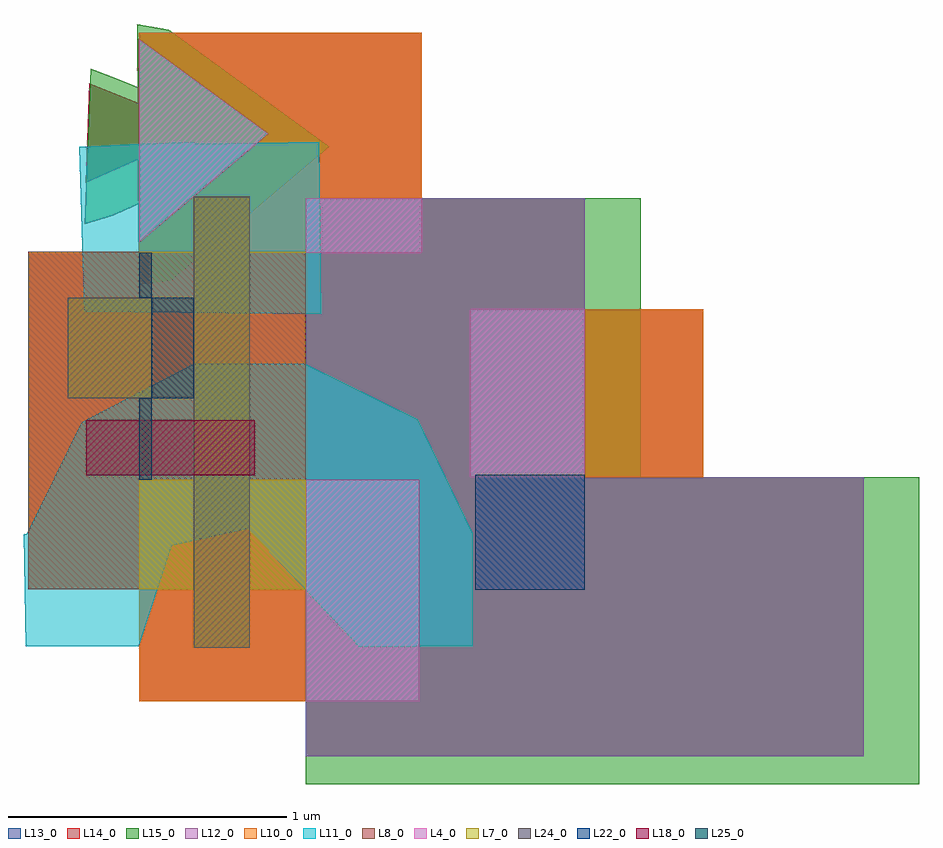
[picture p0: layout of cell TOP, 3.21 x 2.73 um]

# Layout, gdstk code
import gdstk
lib = gdstk.Library(unit=1e-6, precision=1e-09)
def R(c, l, rs):  # rectangles x0, y0, x1, y1
    for r in rs: c.add(gdstk.rectangle(r[:2], r[2:], *l))
def P(c, l, *ps):  # polygons
    for p in ps: c.add(gdstk.Polygon(p, *l))
L4_0 = (4, 0)
L5_0 = (5, 0)
L6_0 = (6, 0)
L7_0 = (7, 0)
L8_0 = (8, 0)
L10_0 = (10, 0)
L11_0 = (11, 0)
L12_0 = (12, 0)
L13_0 = (13, 0)
L14_0 = (14, 0)
L15_0 = (15, 0)
L18_0 = (18, 0)
L19_0 = (19, 0)
L20_0 = (20, 0)
L22_0 = (22, 0)
L24_0 = (24, 0)
L25_0 = (25, 0)
L26_0 = (26, 0)

top = lib.new_cell('TOP')
R(top, L4_0, [(0,0.196,0.407,0.991), (0.589,1,1,1.603), (0,1.804,0.416,2)])
P(top, L4_0, [(-0.598,1.842),(-0.598,2.571),(-0.135,2.232)])
R(top, L7_0, [(-0.854,1.283,-0.553,1.644)])
P(top, L7_0, [(-0.402,0.388),(-0.402,0.598),(-0.598,0.598),(-0.598,0.991),(-0.402,0.991),(-0.402,1.804),(-0.598,1.804),(-0.598,1.809),(-0.402,1.809),(-0.402,2.005),(-0.201,2.005),(-0.201,1.809),(0,1.809),(0,1.804),(-0.201,1.804),(-0.201,0.991),(0,0.991),(0,0.598),(-0.201,0.598),(-0.201,0.388)])
R(top, L8_0, [(-0.402,0.388,-0.201,2.005), (-0.996,0.598,0,1.809)])
R(top, L10_0, [(1,1,1.425,1.603)])
P(top, L10_0, [(-0.598,0.196),(-0.598,0.598),(-0.996,0.598),(-0.996,1.809),(-0.598,1.809),(-0.598,1.842),(-0.135,2.232),(-0.598,2.571),(-0.598,2.594),(0.416,2.594),(0.416,2),(0,2),(0,0.196)])
P(top, L11_0, [(0.193,0.391),(-0.209,0.816),(-0.481,0.755),(-0.599,0.394),(-1.005,0.394),(-1.012,0.796),(-1.001,0.796),(-0.804,1.197),(-0.401,1.407),(-0.002,1.407),(0.401,1.207),(0.599,0.799),(0.599,0.394)],
  [(0.056,1.585),(-0.795,1.594),(-0.812,2.185),(-0.804,2.185),(-0.632,2.193),(-0.63,2.193),(-0.397,2.203),(-0.397,2.202),(-0.391,2.196),(0.048,2.203)])
P(top, L12_0, [(0,0),(0,2),(1,2),(1,1),(2,1),(2,0)])
P(top, L13_0, [(0,0),(0,0.196),(-0.598,0.196),(-0.598,0.598),(-0.996,0.598),(-0.996,1.809),(-0.598,1.809),(-0.598,1.842),(-0.6,1.84),(-0.602,2.139),(-0.789,2.056),(-0.776,2.413),(-0.603,2.343),(-0.604,2.575),(-0.598,2.571),(-0.598,2.594),(0.416,2.594),(0.416,2),(1,2),(1,1.603),(1.425,1.603),(1.425,1),(2,1),(2,0)])
P(top, L14_0, [(0,0),(0,0.196),(-0.598,0.196),(-0.598,0.598),(-0.996,0.598),(-0.996,0.991),(0,0.991),(0,0.196),(0.407,0.196),(0.407,0.991),(-0.996,0.991),(-0.996,1.603),(0.589,1.603),(0.589,1),(1,1),(1,1.603),(-0.996,1.603),(-0.996,1.809),(-0.598,1.809),(-0.598,1.842),(-0.6,1.84),(-0.602,2.139),(-0.789,2.056),(-0.776,2.413),(-0.603,2.343),(-0.604,2.571),(-0.598,2.571),(-0.598,1.842),(-0.41,2),(0,2),(0,1.804),(0.416,1.804),(0.416,2),(-0.41,2),(-0.135,2.232),(-0.598,2.571),(-0.604,2.571),(-0.604,2.575),(-0.598,2.571),(-0.598,2.594),(0.416,2.594),(0.416,2),(1,2),(1,1.603),(1.425,1.603),(1.425,1),(2,1),(2,0)])
P(top, L15_0, [(-0.793,1.907),(-0.772,2.464),(-0.682,2.43),(-0.13,2.207),(-0.125,2.19),(-0.692,1.938)],
  [(-0.599,1.69),(-0.605,2.625),(-0.492,2.605),(0.084,2.184),(-0.483,1.707)],
  [(0,-0.1),(0,2),(1.2,2),(1.2,1),(2.2,1),(2.2,-0.1)])
R(top, L18_0, [(-0.788,1.007,-0.184,1.205)])
R(top, L22_0, [(0.607,0.597,1,1.008)])
R(top, L24_0, [(-0.402,0.388,-0.201,2.005), (-0.854,1.283,-0.553,1.644), (-0.854,1.283,-0.553,1.644)])
R(top, L25_0, [(-0.598,0.991,-0.553,1.283), (-0.553,1.283,-0.402,1.644), (-0.598,1.644,-0.553,1.804)])
top.add(gdstk.FlexPath([(-0.402,0.997),(-0.599,0.394)], 0, ends="flush", simple_path=True, layer=5, datatype=0))  # L5_0
top.add(gdstk.FlexPath([(-1.001,0.796),(-0.804,1.198)], 0, ends="flush", simple_path=True, layer=5, datatype=0))  # L5_0
top.add(gdstk.FlexPath([(-0.598,0.196),(-0.598,0.598)], 0, ends="flush", simple_path=True, layer=6, datatype=0))  # L6_0
top.add(gdstk.FlexPath([(-0.598,0.598),(-0.996,0.598)], 0, ends="flush", simple_path=True, layer=6, datatype=0))  # L6_0
top.add(gdstk.FlexPath([(-0.996,1.809),(-0.598,1.809)], 0, ends="flush", simple_path=True, layer=6, datatype=0))  # L6_0
top.add(gdstk.FlexPath([(0,0.991),(0.407,0.991)], 0, ends="flush", simple_path=True, layer=6, datatype=0))  # L6_0
top.add(gdstk.FlexPath([(0.416,1.804),(0,1.804)], 0, ends="flush", simple_path=True, layer=6, datatype=0))  # L6_0
top.add(gdstk.FlexPath([(0,0.393),(-0.398,0.393)], 0, ends="flush", simple_path=True, layer=19, datatype=0))  # L19_0
top.add(gdstk.FlexPath([(0,0.198),(-0.398,0.198)], 0, ends="flush", simple_path=True, layer=19, datatype=0))  # L19_0
top.add(gdstk.FlexPath([(-0.398,0.796),(0,0.796)], 0, ends="flush", simple_path=True, layer=19, datatype=0))  # L19_0
top.add(gdstk.FlexPath([(-0.398,1.008),(0,1.008)], 0, ends="flush", simple_path=True, layer=19, datatype=0))  # L19_0
top.add(gdstk.FlexPath([(1,0.597),(0.607,0.597)], 0, ends="flush", simple_path=True, layer=19, datatype=0))  # L19_0
top.add(gdstk.FlexPath([(1,0.198),(0.607,0.198)], 0, ends="flush", simple_path=True, layer=19, datatype=0))  # L19_0
top.add(gdstk.FlexPath([(1,1.008),(1,0.597)], 0, ends="flush", simple_path=True, layer=19, datatype=0))  # L19_0
top.add(gdstk.FlexPath([(1.193,1.008),(1.193,0.597)], 0, ends="flush", simple_path=True, layer=19, datatype=0))  # L19_0
top.add(gdstk.FlexPath([(2,1),(2,0)], 0, ends="flush", simple_path=True, layer=20, datatype=0))  # L20_0
top.add(gdstk.FlexPath([(0,2),(1,2)], 0, ends="flush", simple_path=True, layer=20, datatype=0))  # L20_0
top.add(gdstk.FlexPath([(1,2),(1,1)], 0, ends="flush", simple_path=True, layer=20, datatype=0))  # L20_0
top.add(gdstk.FlexPath([(1,1),(2,1)], 0, ends="flush", simple_path=True, layer=20, datatype=0))  # L20_0
top.add(gdstk.FlexPath([(1,1),(1,2)], 0, ends="flush", simple_path=True, layer=26, datatype=0))  # L26_0
top.add(gdstk.FlexPath([(1,2),(2,1)], 0, ends="flush", simple_path=True, layer=26, datatype=0))  # L26_0
top.add(gdstk.FlexPath([(2,1),(1,1)], 0, ends="flush", simple_path=True, layer=26, datatype=0))  # L26_0

lib.write_gds('TOP.gds')
